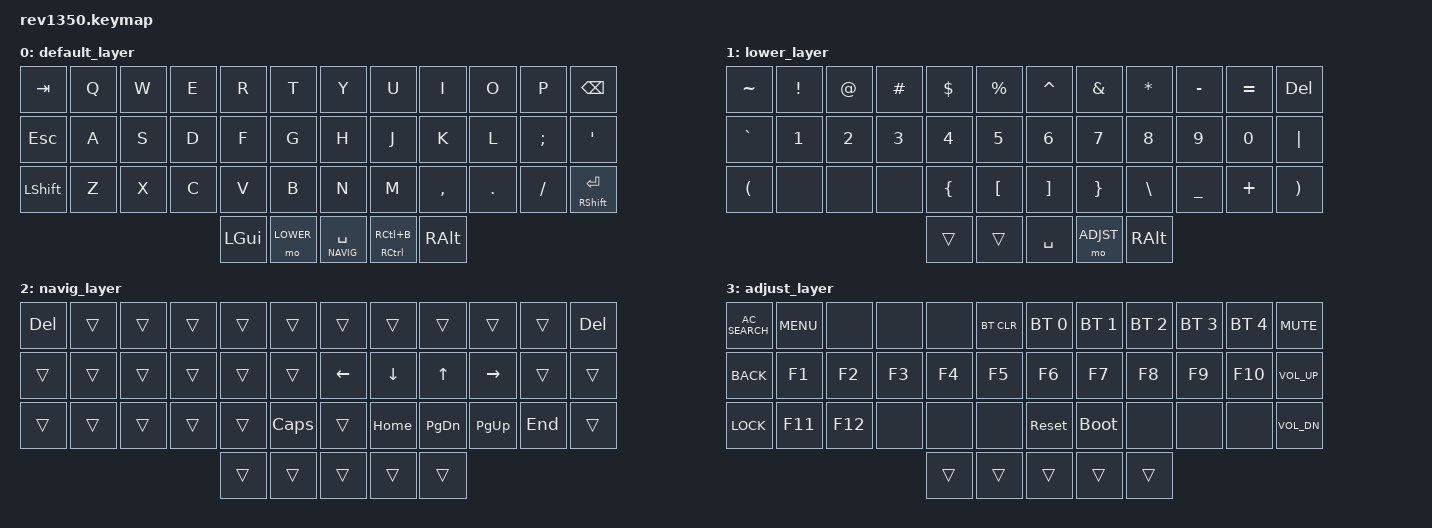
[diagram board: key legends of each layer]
/*
 * Copyright (c) 2020 The ZMK Contributors
 *
 * SPDX-License-Identifier: MIT
 */

#include <behaviors.dtsi>
#include <dt-bindings/zmk/keys.h>
#include <dt-bindings/zmk/bt.h>
#include <dt-bindings/zmk/rgb.h>
#include <dt-bindings/zmk/ext_power.h>

#define DEFAULT 0
#define LOWER   1
#define NAVIG   2
#define ADJST   3

/ {
    behaviors {
        hm: homerow_mods {
            compatible = "zmk,behavior-hold-tap";
            label = "HOMEROW_MODS";
            #binding-cells = <2>;
            tapping-term-ms = <150>;
            quick_tap_ms = <0>;
            flavor = "tap-preferred";
            bindings = <&kp>, <&kp>;
        };
    };

        keymap {
                compatible = "zmk,keymap";

                default_layer {
// --------------------------------------------------------------------------------------
// |  TAB |  Q   |  W   |  E   |  R   |  T  |   |  Y  |  U   |  I   |  O   |  P  | BKSP |
// | ESC  |  A   |  S   |  D   |  F   |  G  |   |  H  |  J   |  K   |  L   |  ;  |   '  |
// | SHFT |CTL(Z)|ALT(X)|SFT(C)|CTL(V)|  B  |   |  N  |CTL(M)|SFT(,)|ALT(.)|  /  |RETURN|
//                         | LGUI | LWR |  SPACE  | RSE | RALT |
                       bindings = <
   &kp TAB	&kp Q	&kp W	&kp E	&kp R	&kp T				&kp Y	&kp U	&kp I	&kp O	&kp P	&kp BSPC
   &kp ESC  &kp A &kp S &kp D &kp F &kp G				&kp H &kp J &kp K &kp L &kp SEMI &kp SQT
	 &kp LSHFT &kp Z	&kp X &kp C &kp V &kp B			&kp N &kp M &kp COMMA &kp DOT &kp FSLH &mt RSHFT RET
                        &kp LGUI  &mo LOWER &lt NAVIG SPACE &mt RCTRL RC(B) &kp RALT
                        >;
                };

                lower_layer {
// ----------------------------------------------------------------------------------
// | ~  |  !  |  @  |  #  |  $  |  %  |     |  ^  |  &  |  *  |  -  |  =  |  DEL |
// | `  |  1  |  2  |  3  |  4  |  5  |     |  6  |  7  |  8  |  9  |  0  |   |  |
// | (  |     |     |     |  {  |  [  |     |  ]  |  }  |  \  |  _  |  +  |   )  |
//  
                        bindings = <
	 &kp TILDE &kp EXCL	&kp AT &kp HASH &kp DLLR &kp PRCNT      &kp CARET &kp AMPS &kp STAR &kp MINUS  &kp EQUAL  &kp DEL
	 &kp GRAVE &kp N1 &kp N2 &kp N3 &kp N4 &kp N5								&kp N6  &kp N7 &kp N8 &kp N9 &kp N0 &kp PIPE
	 &kp LPAR &none &none &none &kp LBRC &kp LBKT								&kp RBKT &kp RBRC &kp BSLH &kp UNDER &kp PLUS &kp RPAR
													&trans      &trans       &kp SPC        &mo ADJST     &kp RALT
                        >;
                };

                navig_layer {
// -----------------------------------------------------------------------------
// | DEL |     |     |     |     |     |   |     |     |     |     |     | DEL |
// |     |     |     |     |     |     |   | LEFT|DOWN |UP   |RIGHT|     |     |
// |     |     |     |     |     |CAPS |   |     |HOME |PG-DN|PG-UP| END |     |
//                        |     |     |     |     |     |
                        bindings = <
   &kp DEL &trans  &trans   &trans   &trans   &trans      &trans  &trans   &trans    &trans    &trans    &kp DEL
   &trans  &trans  &trans   &trans   &trans   &trans      &kp LEFT  &kp DOWN &kp UP  &kp RIGHT    &trans &trans
   &trans  &trans  &trans   &trans   &trans   &kp CLCK    &trans  &kp HOME &kp PG_DN &kp PG_UP &kp END   &trans
                                   &trans   &trans   &trans   &trans   &trans
                        >;
                };

                adjust_layer {
// ------------------------------------------------------------------------------
// | POWER |     |     |     |     | BT CLR |   | BT1 | BT2 | BT3 | BT4 | BT5 | VOL UP |
// | BACK  |  F1 | F2  |  F3 | F4  | F5  |			| F6  | F7  | F8  | F9  | F10 | VOL DN |
// | LOCK  | F11 | F12 |     |     |     |   | RESET | BOOT |     |     |     |  MUTE  |
//                        |     |     |     |     |     |
                        bindings = <
   &kp C_AC_SEARCH &kp K_MENU &none &none &none &bt BT_CLR			&bt BT_SEL 0 &bt BT_SEL 1 &bt BT_SEL 2 &bt BT_SEL 3 &bt BT_SEL 4 &kp K_MUTE
   &kp K_BACK &kp F1 &kp F2 &kp F3 &kp F4 &kp F5      &kp F6 &kp F7 &kp F8 &kp F9 &kp F10 &kp K_VOL_UP
   &kp K_LOCK &kp F11 &kp F12 &none &none &none				&sys_reset &bootloader &none &none &none &kp K_VOL_DN
                       &trans      &trans       &trans        &trans      &trans
                        >;
                };
        };
};
